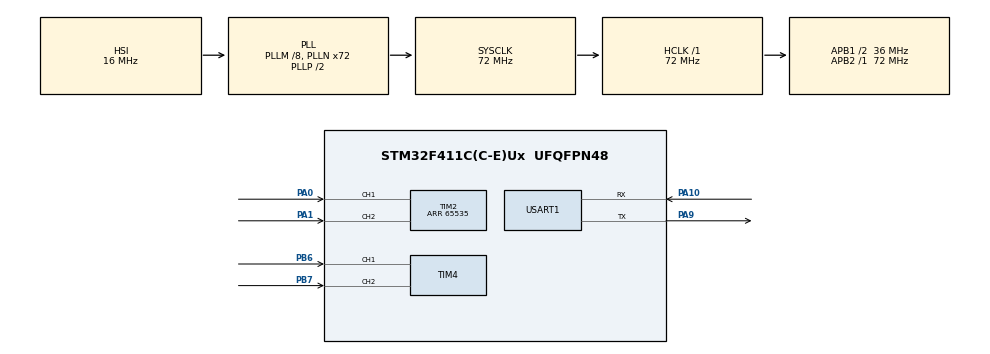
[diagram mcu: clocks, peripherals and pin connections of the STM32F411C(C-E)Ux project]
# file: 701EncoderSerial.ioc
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Mcu.Family=STM32F4
Mcu.Name=STM32F411C(C-E)Ux
Mcu.Package=UFQFPN48
NVIC.PriorityGroup=NVIC_PRIORITYGROUP_4
NVIC.USART1_IRQn=true\:0\:0\:false\:false\:true\:true\:true\:true
PA0-WKUP.Signal=S_TIM2_CH1_ETR
PA1.Signal=S_TIM2_CH2
PA10.Mode=Asynchronous
PA10.Signal=USART1_RX
PA13.Mode=Serial_Wire
PA13.Signal=SYS_JTMS-SWDIO
PA14.Mode=Serial_Wire
PA14.Signal=SYS_JTCK-SWCLK
PA9.Mode=Asynchronous
PA9.Signal=USART1_TX
PB6.Signal=S_TIM4_CH1
PB7.Signal=S_TIM4_CH2
PH0\ -\ OSC_IN.Mode=HSE-External-Oscillator
PH0\ -\ OSC_IN.Signal=RCC_OSC_IN
PH1\ -\ OSC_OUT.Mode=HSE-External-Oscillator
PH1\ -\ OSC_OUT.Signal=RCC_OSC_OUT
ProjectManager.HeapSize=0x200
ProjectManager.StackSize=0x400
ProjectManager.TargetToolchain=STM32CubeIDE
RCC.48MHZClocksFreq_Value=36000000
RCC.AHBFreq_Value=72000000
RCC.APB1CLKDivider=RCC_HCLK_DIV2
RCC.APB1Freq_Value=36000000
RCC.APB1TimFreq_Value=72000000
RCC.APB2Freq_Value=72000000
RCC.APB2TimFreq_Value=72000000
RCC.CortexFreq_Value=72000000
RCC.HCLKFreq_Value=72000000
RCC.HSE_VALUE=25000000
RCC.HSI_VALUE=16000000
RCC.LSE_VALUE=32768
RCC.PLLM=8
RCC.PLLN=72
RCC.SYSCLKFreq_VALUE=72000000
RCC.SYSCLKSource=RCC_SYSCLKSOURCE_PLLCLK
RCC.VCOOutputFreq_Value=144000000
SH.S_TIM2_CH1_ETR.0=TIM2_CH1,Encoder_Interface
SH.S_TIM2_CH2.0=TIM2_CH2,Encoder_Interface
SH.S_TIM4_CH1.0=TIM4_CH1,Encoder_Interface
SH.S_TIM4_CH2.0=TIM4_CH2,Encoder_Interface
TIM2.EncoderMode=TIM_ENCODERMODE_TI12
TIM2.IC1Filter=10
TIM2.Period=65535
TIM4.IC1Filter=10
USART1.VirtualMode=VM_ASYNC
board=custom

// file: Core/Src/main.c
/* USER CODE BEGIN Header */
/**
  ******************************************************************************
  * @file           : main.c
  * @brief          : Main program body
  ******************************************************************************
  * @attention
  *
  * Copyright (c) 2025 STMicroelectronics.
  * All rights reserved.
  *
  * This software is licensed under terms that can be found in the LICENSE file
  * in the root directory of this software component.
  * If no LICENSE file comes with this software, it is provided AS-IS.
  *
  ******************************************************************************
  */

//La Fórmula Clave
//La relación entre estos parámetros y el tiempo deseado es la siguiente:
//
//Frecuencia_Deseada = Frecuencia_Reloj_Entrada / ((Prescaler + 1) * (Counter_Period + 1))
//
//O, si quieres calcular el Tiempo_Período (el inverso de la frecuencia):
//
//Tiempo_Período = ((Prescaler + 1) * (Counter_Period + 1)) / Frecuencia_Reloj_Entrada

#include <stdio.h>
/* USER CODE END Header */
#include "main.h"

TIM_HandleTypeDef htim2;
TIM_HandleTypeDef htim4;

UART_HandleTypeDef huart1;

void SystemClock_Config(void);
static void MX_GPIO_Init(void);
static void MX_USART1_UART_Init(void);
static void MX_TIM2_Init(void);
static void MX_TIM4_Init(void);

/* USER CODE BEGIN 0 */

uint32_t motor_value = 0;
uint8_t motor_dir = 0;

#define ESC_MID 1920//1830-2000
#define ESC_BACKWARD 1790
#define ESC_FORWARD 2050
#define ESC_BACKWARD_MIN 1690//3000 // Minimum PWM value for ESC
#define ESC_FORWARD_MAX 2150//3000 // Minimum PWM value for ESC
#define ESC_INC 10 // Minimum PWM value for ESC

uint32_t map_esc_values(uint32_t au32_IN, uint32_t au32_INmin, uint32_t au32_INmax, uint32_t au32_OUTmin, uint32_t au32_OUTmax)
{
    return ((((au32_IN - au32_INmin)*(au32_OUTmax - au32_OUTmin))/(au32_INmax - au32_INmin)) + au32_OUTmin);
}

#define RX_SERIAL_BUFFER_SIZE 100
uint8_t rxBuffer[RX_SERIAL_BUFFER_SIZE];
uint8_t rxData;
uint16_t rxIndex = 0;
uint8_t menu_string[] = "\r\n"
                          "ESC Serial:\r\n";
/* USER CODE END 0 */

int main(void)
{

  /* MCU Configuration--------------------------------------------------------*/

  /* Reset of all peripherals, Initializes the Flash interface and the Systick. */
  HAL_Init();

  /* Configure the system clock */
  SystemClock_Config();

  /* Initialize all configured peripherals */
  MX_GPIO_Init();
  MX_USART1_UART_Init();
  MX_TIM2_Init();
  MX_TIM4_Init();

  /* Infinite loop */
  /* USER CODE BEGIN WHILE */

  uint8_t message[54] = {'\0'};

  HAL_TIM_Encoder_Start(&htim2, TIM_CHANNEL_ALL);

//  HAL_TIM_PWM_Start(&htim3, TIM_CHANNEL_3);
//
//  motor_value = ESC_MID;
//
////  HAL_Delay(1000);
//  TIM3->CCR3 = map_esc_values(motor_value, 0, 4095, 3273, 6545); // Map The ADC Reading To PWM DutyCycle
//  // Inicia el PWM con el valor medio
//  HAL_Delay(3000);
//  HAL_UART_Receive_IT(&huart1, &rxData, 1);
//  char output_value[50];
  while (1)
  {
    /* USER CODE END WHILE */

    /* USER CODE BEGIN 3 */

    if(HAL_GPIO_ReadPin (GPIOA, GPIO_PIN_2))
    {
        sprintf((char *)message, "Enc Switch Released, Ticks = %lu\n\r", ((TIM2->CNT)>>2));
        HAL_UART_Transmit(&huart1, message, sizeof(message), 100);
    }
    else
    {
        sprintf((char *)message, "Enc Switch Pressed, Ticks = %lu\n\r", ((TIM2->CNT)>>2));
        HAL_UART_Transmit(&huart1, message, sizeof(message), 100);
    }
    HAL_Delay(100);

//        if (motor_dir == 0) {
//          motor_value += ESC_INC;
//          if (motor_value < ESC_FORWARD && motor_value > ESC_BACKWARD) {
//            motor_value = ESC_FORWARD;
//          }
//          if (motor_value >= ESC_FORWARD_MAX) {
//             motor_dir = 1; // Cambia la dirección a reversa
//          }
//        }
//        else {
//          motor_value -= ESC_INC;
//          if (motor_value < ESC_FORWARD && motor_value > ESC_BACKWARD) {
//            motor_value = ESC_BACKWARD;
//          }
//          if (motor_value <= ESC_BACKWARD_MIN) {
//            motor_dir = 0; // Cambia la dirección a avance
//          }
//        }
//        int num_char = snprintf(output_value, sizeof(output_value) ,"Valor %lu\r\n", motor_value);
//        HAL_UART_Transmit_IT(&huart1, (uint8_t*)output_value, num_char);
//        TIM3->CCR3 = map_esc_values(motor_value, 0, 4095, 3273, 6545); // Map The ADC Reading To PWM DutyCycle
//        // Añade un pequeño retardo para no saturar el procesador
//        HAL_Delay(1000); // Espera 100 milisegundos

  }
  /* USER CODE END 3 */
}

void SystemClock_Config(void)
{
  RCC_OscInitTypeDef RCC_OscInitStruct = {0};
  RCC_ClkInitTypeDef RCC_ClkInitStruct = {0};

  /** Configure the main internal regulator output voltage
  */
  __HAL_RCC_PWR_CLK_ENABLE();
  __HAL_PWR_VOLTAGESCALING_CONFIG(PWR_REGULATOR_VOLTAGE_SCALE1);

  /** Initializes the RCC Oscillators according to the specified parameters
  * in the RCC_OscInitTypeDef structure.
  */
  RCC_OscInitStruct.OscillatorType = RCC_OSCILLATORTYPE_HSI;
  RCC_OscInitStruct.HSIState = RCC_HSI_ON;
  RCC_OscInitStruct.HSICalibrationValue = RCC_HSICALIBRATION_DEFAULT;
  RCC_OscInitStruct.PLL.PLLState = RCC_PLL_ON;
  RCC_OscInitStruct.PLL.PLLSource = RCC_PLLSOURCE_HSI;
  RCC_OscInitStruct.PLL.PLLM = 8;
  RCC_OscInitStruct.PLL.PLLN = 72;
  RCC_OscInitStruct.PLL.PLLP = RCC_PLLP_DIV2;
  RCC_OscInitStruct.PLL.PLLQ = 4;
  if (HAL_RCC_OscConfig(&RCC_OscInitStruct) != HAL_OK)
  {
    Error_Handler();
  }

  /** Initializes the CPU, AHB and APB buses clocks
  */
  RCC_ClkInitStruct.ClockType = RCC_CLOCKTYPE_HCLK|RCC_CLOCKTYPE_SYSCLK
                              |RCC_CLOCKTYPE_PCLK1|RCC_CLOCKTYPE_PCLK2;
  RCC_ClkInitStruct.SYSCLKSource = RCC_SYSCLKSOURCE_PLLCLK;
  RCC_ClkInitStruct.AHBCLKDivider = RCC_SYSCLK_DIV1;
  RCC_ClkInitStruct.APB1CLKDivider = RCC_HCLK_DIV2;
  RCC_ClkInitStruct.APB2CLKDivider = RCC_HCLK_DIV1;

  if (HAL_RCC_ClockConfig(&RCC_ClkInitStruct, FLASH_LATENCY_2) != HAL_OK)
  {
    Error_Handler();
  }
}

static void MX_TIM2_Init(void)
{

  TIM_Encoder_InitTypeDef sConfig = {0};
  TIM_MasterConfigTypeDef sMasterConfig = {0};

  htim2.Instance = TIM2;
  htim2.Init.Prescaler = 0;
  htim2.Init.CounterMode = TIM_COUNTERMODE_UP;
  htim2.Init.Period = 65535;
  htim2.Init.ClockDivision = TIM_CLOCKDIVISION_DIV1;
  htim2.Init.AutoReloadPreload = TIM_AUTORELOAD_PRELOAD_DISABLE;
  sConfig.EncoderMode = TIM_ENCODERMODE_TI12;
  sConfig.IC1Polarity = TIM_ICPOLARITY_RISING;
  sConfig.IC1Selection = TIM_ICSELECTION_DIRECTTI;
  sConfig.IC1Prescaler = TIM_ICPSC_DIV1;
  sConfig.IC1Filter = 10;
  sConfig.IC2Polarity = TIM_ICPOLARITY_RISING;
  sConfig.IC2Selection = TIM_ICSELECTION_DIRECTTI;
  sConfig.IC2Prescaler = TIM_ICPSC_DIV1;
  sConfig.IC2Filter = 0;
  if (HAL_TIM_Encoder_Init(&htim2, &sConfig) != HAL_OK)
  {
    Error_Handler();
  }
  sMasterConfig.MasterOutputTrigger = TIM_TRGO_RESET;
  sMasterConfig.MasterSlaveMode = TIM_MASTERSLAVEMODE_DISABLE;
  if (HAL_TIMEx_MasterConfigSynchronization(&htim2, &sMasterConfig) != HAL_OK)
  {
    Error_Handler();
  }

}

static void MX_TIM4_Init(void)
{

  TIM_Encoder_InitTypeDef sConfig = {0};
  TIM_MasterConfigTypeDef sMasterConfig = {0};

  htim4.Instance = TIM4;
  htim4.Init.Prescaler = 0;
  htim4.Init.CounterMode = TIM_COUNTERMODE_UP;
  htim4.Init.Period = 65535;
  htim4.Init.ClockDivision = TIM_CLOCKDIVISION_DIV1;
  htim4.Init.AutoReloadPreload = TIM_AUTORELOAD_PRELOAD_DISABLE;
  sConfig.EncoderMode = TIM_ENCODERMODE_TI1;
  sConfig.IC1Polarity = TIM_ICPOLARITY_RISING;
  sConfig.IC1Selection = TIM_ICSELECTION_DIRECTTI;
  sConfig.IC1Prescaler = TIM_ICPSC_DIV1;
  sConfig.IC1Filter = 10;
  sConfig.IC2Polarity = TIM_ICPOLARITY_RISING;
  sConfig.IC2Selection = TIM_ICSELECTION_DIRECTTI;
  sConfig.IC2Prescaler = TIM_ICPSC_DIV1;
  sConfig.IC2Filter = 0;
  if (HAL_TIM_Encoder_Init(&htim4, &sConfig) != HAL_OK)
  {
    Error_Handler();
  }
  sMasterConfig.MasterOutputTrigger = TIM_TRGO_RESET;
  sMasterConfig.MasterSlaveMode = TIM_MASTERSLAVEMODE_DISABLE;
  if (HAL_TIMEx_MasterConfigSynchronization(&htim4, &sMasterConfig) != HAL_OK)
  {
    Error_Handler();
  }

}

static void MX_USART1_UART_Init(void)
{

  huart1.Instance = USART1;
  huart1.Init.BaudRate = 115200;
  huart1.Init.WordLength = UART_WORDLENGTH_8B;
  huart1.Init.StopBits = UART_STOPBITS_1;
  huart1.Init.Parity = UART_PARITY_NONE;
  huart1.Init.Mode = UART_MODE_TX_RX;
  huart1.Init.HwFlowCtl = UART_HWCONTROL_NONE;
  huart1.Init.OverSampling = UART_OVERSAMPLING_16;
  if (HAL_UART_Init(&huart1) != HAL_OK)
  {
    Error_Handler();
  }

}

static void MX_GPIO_Init(void)
{

  /* GPIO Ports Clock Enable */
  __HAL_RCC_GPIOH_CLK_ENABLE();
  __HAL_RCC_GPIOA_CLK_ENABLE();
  __HAL_RCC_GPIOB_CLK_ENABLE();

}

/* USER CODE BEGIN 4 */
void HAL_UART_RxCpltCallback(UART_HandleTypeDef *huart)
{
  if (huart->Instance == USART1) // Verifica que sea el UART correcto
  {
    if (rxData == '\n' || rxData == '\r') // Verifica si llegó el carácter de cambio de línea
    {
      rxBuffer[rxIndex] = '\0'; // Termina la cadena
      // Procesa el mensaje recibido en rxBuffer
      rxIndex = 0; // Reinicia el índice para el próximo mensaje
//      const unsigned char crlf_sequence[] = "\r\n";
//      HAL_UART_Transmit_IT(huart, crlf_sequence, strlen((const char*)crlf_sequence));
//      HAL_UART_Transmit_IT(huart, menu, strlen((const char*)menu));
      HAL_UART_Transmit_IT(huart, menu_string, sizeof(menu_string));
    }
    else if (rxData == '\177' || rxData == '\b') // Verifica si llegó el carácter de cambio de línea
    {
      if (rxIndex > 0) {
        rxIndex--;
//        const unsigned char crlf_sequence[] = "\b \b";
//        HAL_UART_Transmit_IT(huart, crlf_sequence, strlen((const char*)crlf_sequence));
          uint8_t crlf_sequence[] = "\b \b";
          HAL_UART_Transmit_IT(huart, crlf_sequence, sizeof(crlf_sequence));
      }
    }
    else
    {
      if (rxIndex < RX_SERIAL_BUFFER_SIZE - 1) // Evita desbordamiento del búfer
      {
        rxBuffer[rxIndex++] = rxData; // Almacena el byte recibido
      }
      HAL_UART_Transmit_IT(huart, &rxData, 1);
    }
    // Reinicia la recepción de un nuevo byte
    HAL_UART_Receive_IT(huart, &rxData, 1);
  }
}
/* USER CODE END 4 */

void Error_Handler(void)
{
  __disable_irq();
  while (1)
  {
  }
}
